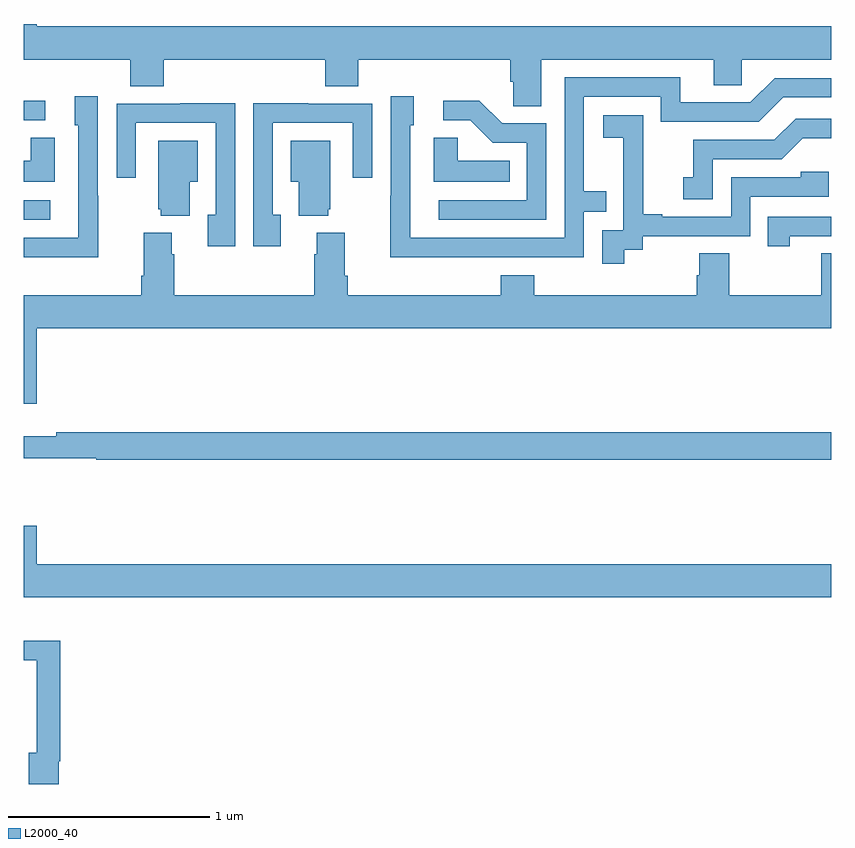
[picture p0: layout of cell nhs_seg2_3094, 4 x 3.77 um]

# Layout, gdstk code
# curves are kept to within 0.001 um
import gdstk
lib = gdstk.Library(unit=1e-6, precision=1e-09)
def R(c, l, rs):  # rectangles x0, y0, x1, y1
    for r in rs: c.add(gdstk.rectangle(r[:2], r[2:], *l))
def P(c, l, *ps):  # polygons
    for p in ps: c.add(gdstk.Polygon(p, *l))
L2000_40 = (2000, 40)

nhs_seg2_3094 = lib.new_cell('nhs_seg2_3094')
R(nhs_seg2_3094, L2000_40, [(273,658.83,273.13,658.926), (273,659.322,273.106,659.42)])
P(nhs_seg2_3094, L2000_40, [(275.563,659.624),(276.419,659.624),(276.419,659.497),(276.558,659.497),(276.558,659.624),(277,659.624),(277,659.788),(273.064,659.788),(273.064,659.8),(273,659.8),(273,659.624),(273.527,659.624),(273.527,659.491),(273.692,659.491),(273.692,659.624),(274.493,659.624),(274.493,659.491),(274.658,659.491),(274.658,659.624),(275.411,659.624),(275.411,659.515),(275.424,659.515),(275.424,659.392),(275.563,659.392)],
  [(275.279,658.644),(275.775,658.644),(275.775,658.869),(275.885,658.869),(275.885,658.97),(275.775,658.97),(275.775,659.439),(276.156,659.439),(276.156,659.316),(276.642,659.316),(276.762,659.436),(277,659.436),(277,659.532),(276.72,659.532),(276.6,659.412),(276.253,659.412),(276.253,659.535),(275.679,659.535),(275.679,658.74),(274.914,658.74),(274.914,659.298),(274.933,659.298),(274.933,659.443),(274.818,659.443),(274.818,658.949),(274.816,658.949),(274.816,658.643)],
  [(273.369,658.949),(273.366,658.949),(273.366,659.443),(273.251,659.443),(273.251,659.298),(273.27,659.298),(273.27,658.74),(273,658.74),(273,658.643),(273.369,658.643)],
  [(275.589,659.307),(275.37,659.307),(275.257,659.42),(275.079,659.42),(275.079,659.322),(275.213,659.322),(275.324,659.211),(275.493,659.211),(275.493,658.926),(275.055,658.926),(275.055,658.83),(275.589,658.83)],
  [(274.273,658.854),(274.233,658.854),(274.233,659.31),(274.629,659.31),(274.629,659.037),(274.725,659.037),(274.725,659.406),(274.409,659.406),(274.409,659.408),(274.137,659.408),(274.137,658.698),(274.273,658.698)],
  [(274.047,659.408),(273.775,659.408),(273.775,659.406),(273.459,659.406),(273.459,659.037),(273.555,659.037),(273.555,659.31),(273.951,659.31),(273.951,658.854),(273.911,658.854),(273.911,658.698),(274.047,658.698)],
  [(275.974,658.681),(276.066,658.681),(276.066,658.749),(276.6,658.749),(276.6,658.944),(276.989,658.944),(276.989,659.067),(276.849,659.067),(276.849,659.04),(276.504,659.04),(276.504,658.845),(276.163,658.845),(276.163,658.858),(276.068,658.858),(276.068,659.141),(276.069,659.141),(276.069,659.347),(275.871,659.347),(275.871,659.237),(275.969,659.237),(275.969,659.009),(275.97,659.009),(275.97,658.779),(275.865,658.779),(275.865,658.611),(275.974,658.611)],
  [(276.414,659.13),(276.756,659.13),(276.86,659.234),(277,659.234),(277,659.331),(276.824,659.331),(276.719,659.226),(276.316,659.226),(276.316,659.041),(276.267,659.041),(276.267,658.932),(276.414,658.932)],
  [(275.408,659.122),(275.151,659.122),(275.151,659.237),(275.03,659.237),(275.03,659.018),(275.408,659.018)],
  [(273.154,659.237),(273.033,659.237),(273.033,659.122),(273,659.122),(273,659.018),(273.154,659.018)],
  [(273.823,659.018),(273.862,659.018),(273.862,659.221),(273.665,659.221),(273.665,658.881),(273.677,658.881),(273.677,658.85),(273.823,658.85)],
  [(274.508,658.881),(274.519,658.881),(274.519,659.221),(274.322,659.221),(274.322,659.018),(274.361,659.018),(274.361,658.85),(274.508,658.85)],
  [(276.796,658.749),(277,658.749),(277,658.845),(276.685,658.845),(276.685,658.698),(276.796,658.698)],
  [(273.064,658.292),(277,658.292),(277,658.664),(276.952,658.664),(276.952,658.456),(276.495,658.456),(276.495,658.664),(276.347,658.664),(276.347,658.554),(276.335,658.554),(276.335,658.456),(275.528,658.456),(275.528,658.555),(275.363,658.555),(275.363,658.456),(274.604,658.456),(274.604,658.552),(274.591,658.552),(274.591,658.765),(274.451,658.765),(274.451,658.658),(274.439,658.658),(274.439,658.456),(273.746,658.456),(273.746,658.658),(273.733,658.658),(273.733,658.765),(273.593,658.765),(273.593,658.552),(273.581,658.552),(273.581,658.456),(273,658.456),(273,657.918),(273.064,657.918)],
  [(277,657.776),(273.16,657.776),(273.16,657.757),(273,657.757),(273,657.648),(273.358,657.648),(273.358,657.64),(277,657.64)],
  [(277,657.124),(273.064,657.124),(273.064,657.313),(273,657.313),(273,656.96),(277,656.96)],
  [(273.172,656.146),(273.179,656.146),(273.179,656.744),(273,656.744),(273,656.646),(273.063,656.646),(273.063,656.19),(273.023,656.19),(273.023,656.034),(273.172,656.034)])

lib.write_gds('nhs_seg2_3094.gds')
